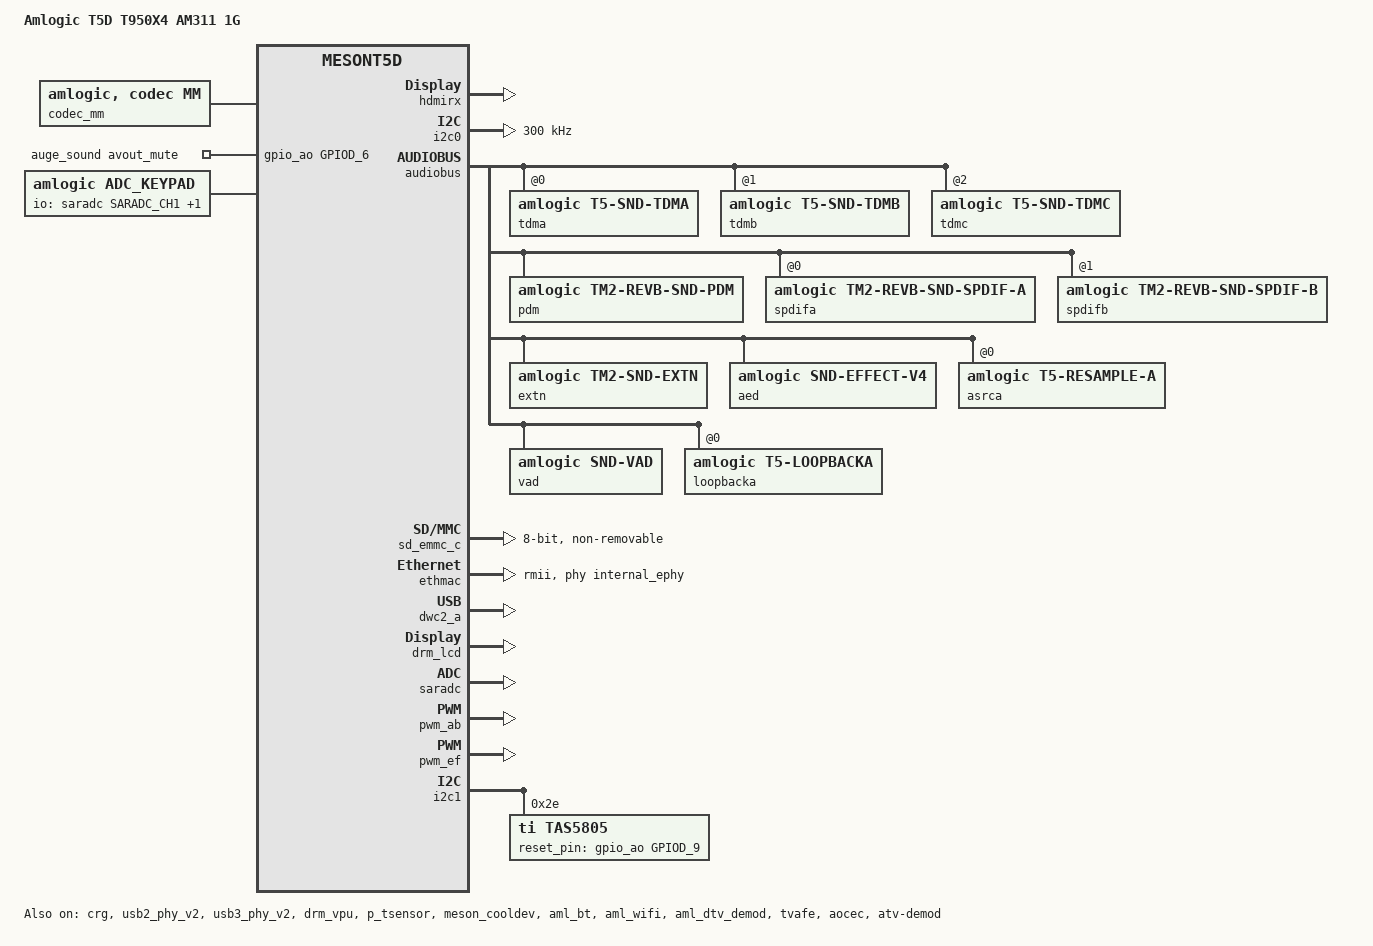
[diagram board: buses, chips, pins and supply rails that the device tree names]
// SPDX-License-Identifier: (GPL-2.0+ OR MIT)
/*
 * arch/arm64/boot/dts/amlogic/t5d_reva_t950x4_am311_linux_1g.dts
 *
 * Copyright (C) 2017 Amlogic, Inc. All rights reserved.
 *
 * This program is free software; you can redistribute it and/or modify
 * it under the terms of the GNU General Public License as published by
 * the Free Software Foundation; either version 2 of the License, or
 * (at your option) any later version.
 *
 * This program is distributed in the hope that it will be useful, but WITHOUT
 * ANY WARRANTY; without even the implied warranty of MERCHANTABILITY or
 * FITNESS FOR A PARTICULAR PURPOSE.  See the GNU General Public License for
 * more details.
 *
 */

/dts-v1/;

#include "mesont5d_reva.dtsi"
#include "partition_normal_linux.dtsi"
#include "mesont5d_reva_am301_linux-panel.dtsi"
#include "mesont5_drm.dtsi"

/ {
	model = "Amlogic T5D T950X4 AM311 1G";
	amlogic-dt-id = "t5d-reva_t950x4_am311-1g";

	aliases {
		serial0 = &uart_B;
		serial1 = &uart_A;
		serial2 = &uart_C;
		//serial3 = &uart_C;
		//serial4 = &uart_AO_B;
		tsensor0 = &p_tsensor;
		i2c0 = &i2c0;
		i2c1 = &i2c1;
		i2c2 = &i2c2;
		spi0 = &spifc;
		spi1 = &spicc0;
	};

	memory@00000000 {
		device_type = "memory";
		linux,usable-memory = <0x0 0x40000000>;
	};

	reserved-memory {
		#address-cells = <1>;
		#size-cells = <1>;
		ranges;
		/* global autoconfigured region for contiguous allocations */
		ramoops@0x07400000 {
			compatible = "ramoops";
			reg = <0x07400000 0x00100000>;
			record-size = <0x20000>;
			console-size = <0x40000>;
			ftrace-size = <0x80000>;
			pmsg-size = <0x10000>;
			bconsole-size = <0x10000>;
		};

		secmon_reserved: linux,secmon {
			compatible = "shared-dma-pool";
			reusable;
			size = <0x400000>;
			alignment = <0x400000>;
			alloc-ranges = <0x05000000 0x400000>;
		};

		logo_reserved:linux,meson-fb {
			compatible = "shared-dma-pool";
			reusable;
			size = <0x800000>;
			alignment = <0x400000>;
			alloc-ranges = <0x3f800000 0x800000>;
		};

		lcd_tcon_reserved:linux,lcd_tcon {
			compatible = "shared-dma-pool";
			reusable;
			size = <0x800000>;
			alignment = <0x400000>;
			alloc-ranges = <0x3f000000 0x800000>;
		};

		codec_mm_cma:linux,codec_mm_cma {
			compatible = "shared-dma-pool";
			reusable;
			/* yuv420(32x3)96M + di(7x4,11x5)84M + workbuf(12M)
			 * the sum with align 4M then is equal to 192M
			 */
			size = <0x9000000>;
			alignment = <0x400000>;
			linux,contiguous-region;
			alloc-ranges = <0x0 0x3f800000>;
		};

		/* codec shared reserved */
		codec_mm_reserved:linux,codec_mm_reserved {
			compatible = "amlogic, codec-mm-reserved";
			size = <0x0>;
			/*alignment = <0x0 0x100000>;*/
			//no-map;
			alloc-ranges = <0x0 0x3f000000>;
		};

		ion_cma_reserved:linux,ion-dev {
			compatible = "shared-dma-pool";
			reusable;
			/* device/amlogic/xxx/BoardConfig.mk
			 *        |HWC_PRIMARY_FRAMEBUFFER_WIDTH := 1920
			 *        |      |HWC_PRIMARY_FRAMEBUFFER_HEIGHT := 1080
			 *        |      |      |NUM_FRAMEBUFFER_SURFACE_BUFFERS := 3
			 * size = 1920 * 1080 * 3 * 4(RGBA: bytes/pixel) + 4M(10% * afbc)
			 */
			size = <0x4000000>;
			alignment = <0x400000>;
			alloc-ranges = <0x0 0x3f000000>;
		};
		ion_fb_reserved:linux,ion-fb {
			compatible = "shared-dma-pool";
			reusable;
			size = <0x0000000>;
			alignment = <0x400000>;
		};

		/*  vdin0 CMA pool */
		//vdin0_cma_reserved:linux,vdin0_cma {
		//	compatible = "shared-dma-pool";
		//	reusable;
			/* 3840x2160x4x4 ~=128 M */
		//	size = <0xc400000>;
		//	alignment = <0x400000>;
		//};

		/*  vdin1 CMA pool */
		vdin1_cma_reserved:linux,vdin1_cma {
			compatible = "shared-dma-pool";
			reusable;
			/* 420 mode:1280x720x2x4=8MB */
			/* 444 mode:1280x720x3x4=12MB */
			size = <0x800000>;
			alignment = <0x400000>;
			alloc-ranges = <0x0 0x3f000000>;
		};

		/* demod_reserved:linux,demod {
		 *	compatible = "amlogic, demod-mem";
		 *	size = <0x6400000>; //8M //100m 0x6400000
		 *	alloc-ranges = <0x0 0x30000000>;
		 *	//multi-use;
		 *	//no-map;
		 * };
		 */

		/* demod_cma_reserved:linux,demod_cma {
		 *	compatible = "shared-dma-pool";
		 *	reusable;
		 *	// 40M
		 *	size = <0x02800000>;
		 *	alignment = <0x400000>;
		 *	alloc-ranges = <0x0 0x3f000000>;
		 *};
		 */

		/*di CMA pool */
		di_cma_reserved:linux,di_cma {
			compatible = "shared-dma-pool";
			reusable;
			/* buffer_size = 3621952(yuv422 8bit)
			 *  | 4736064(yuv422 10bit)
			 *  | 4074560(yuv422 10bit full pack mode)
			 * 10x3621952=34.6M(0x23) support 8bit
			 * 10x4736064=45.2M(0x2e) support 12bit
			 * 10x4074560=40M(0x28) support 10bit
			 */
			//size = <0x0 0x7800000>;
			alignment = <0x400000>;
		};

		/* for hdmi rx emp use */
		/*hdmirx_emp_cma_reserved:linux,emp_cma {*/
			/*compatible = "shared-dma-pool";*/
			/*linux,phandle = <5>;*/
			/*reusable;*/
			/* 4M for emp to ddr */
			/* 32M for tmds to ddr */
			/*size = <0x0 0x8000>;*/
			/*alignment = <0x0 0x400000>;*/
		/*};*/

		/* POST PROCESS MANAGER */
		ppmgr_reserved:linux,ppmgr {
			compatible = "amlogic, ppmgr_memory";
			size = <0x0>;
		};

		picdec_cma_reserved:linux,picdec {
			compatible = "shared-dma-pool";
			reusable;
			size = <0x0>;
			alignment = <0x0>;
			linux,contiguous-region;
		};
	}; /* end of reserved-memory */
	galcore {
		status = "disabled";
	};
	codec_mm {
		compatible = "amlogic, codec, mm";
		status = "okay";
		memory-region = <&codec_mm_cma &codec_mm_reserved>;
	};

	picdec {
		compatible = "amlogic, picdec";
		memory-region = <&picdec_cma_reserved>;
		dev_name = "picdec";
		status = "okay";
	};

	ppmgr {
		compatible = "amlogic, ppmgr";
		memory-region = <&ppmgr_reserved>;
		status = "okay";
	};

	multi-di {
		compatible = "amlogic, dim-t5d";
		status = "okay";
		/* 0:use reserved; 1:use cma; 2:use cma as reserved */
		flag_cma = <4>;//t5d unsupport 4K,di 1CH need 42M
		en_4k = <0>;
		keep_dec_vf = <0>;
		po_fmt = <0>;
		post_nub = <9>;
		//memory-region = <&di_reserved>;
		memory-region = <&di_cma_reserved>;
		interrupts = <0 46 1
				0 40 1>;
		interrupt-names = "pre_irq", "post_irq";
		clocks = <&peripheral_clkc CLKID_VPU_CLKB_TMP_GATE>,
			<&peripheral_clkc CLKID_VPU_CLKB_GATE>;
		clock-names = "t5_vpu_clkb_tmp_gate",
			"t5_vpu_clkb_gate";
		clock-range = <334 334>;
		/* buffer-size = <3621952>;(yuv422 8bit) */
		buffer-size = <4074560>;/*yuv422 fullpack*/
		/* reserve-iomap = "true"; */
		/* if enable nr10bit, set nr10bit-support to 1 */
		post-wr-support = <1>;
		nr10bit-support = <1>;
		nrds-enable = <1>;
		pps-enable = <1>;
		ponly_mode = <1>;
	};

	aml_dtv_demod {
		compatible = "amlogic, ddemod-t5d";
		dev_name = "aml_dtv_demod";
		status = "okay";
		diseqc_name = "sgm_41286";
		pinctrl-names="if_agc_pins", "diseqc", "rf_agc_pins";
		pinctrl-0=<&dtvdemod_if_agc_pins>;
		pinctrl-1=<&diseqc_out>;
		pinctrl-2=<&dtvdemod_rf_agc_pins>;
		lnb_en-gpios = <&gpio GPIOZ_2 GPIO_ACTIVE_HIGH>;
		lnb_sel-gpios = <&gpio GPIOZ_3 GPIO_ACTIVE_HIGH>;
		interrupts = <GIC_SPI 142 IRQ_TYPE_EDGE_RISING>;
		interrupt-names = "demod_isr";

		power-domains = <&pwrdm PDID_T5_DEMOD>;
		clocks = <&clkc CLKID_DAC_CLK>;
		clock-names = "vdac_clk_gate";

		reg = <0xff670000 0x10000	/*dtv demod base*/
			   0xff646000 0x2000	/*hiu reg base*/
			   0xff800000 0x1000	/*io_aobus_base*/
			   0xffd01000 0x1000	/*reset*/
			>;

		spectrum = <1>;
		cma_mem_size = <40>; // MB
		//memory-region = <&demod_cma_reserved>;//<&demod_reserved>;
	};

	/* Audio Related start */
	auge_sound {
		compatible = "amlogic, auge-sound-card";
		aml-audio-card,name = "AML-AUGESOUND";

		avout_mute-gpios = <&gpio_ao GPIOD_6 GPIO_ACTIVE_HIGH>;

		interrupts = <GIC_SPI 235 IRQ_TYPE_EDGE_RISING>;
		interrupt-names = "audio_exception64";

		aml-audio-card,dai-link@0 {
			format = "i2s";
			mclk-fs = <256>;
			//continuous-clock;
			//bitclock-inversion;
			//frame-inversion;
			/* master mode */
			bitclock-master = <&tdma>;
			frame-master = <&tdma>;
			/* slave mode */
			/*
			 * bitclock-master = <&tdmacodec>;
			 * frame-master = <&tdmacodec>;
			 */
			/* suffix-name, sync with android audio hal used for */
			suffix-name = "alsaPORT-pcm";
			tdmacpu: cpu {
				sound-dai = <&tdma>;
				dai-tdm-slot-tx-mask =
							<1 1>;
				dai-tdm-slot-rx-mask =
							<1 1>;
				dai-tdm-slot-num = <2>;
				dai-tdm-slot-width = <32>;
				system-clock-frequency = <12288000>;
			};
			tdmacodec: codec {
				sound-dai = <&dummy_codec>;
			};
		};

		aml-audio-card,dai-link@1 {
			format = "i2s";
			mclk-fs = <256>;
			continuous-clock;
			//bitclock-inversion;
			//frame-inversion;
			/* master mode */
			bitclock-master = <&tdmb>;
			frame-master = <&tdmb>;
			/* slave mode */
			//bitclock-master = <&tdmbcodec>;
			//frame-master = <&tdmbcodec>;
			/* suffix-name, sync with android audio hal used for */
			suffix-name = "alsaPORT-i2s";
			cpu {
				sound-dai = <&tdmb>;
				dai-tdm-slot-tx-mask = <1 1>;
				dai-tdm-slot-rx-mask = <1 1>;
				dai-tdm-slot-num = <2>;
				dai-tdm-slot-width = <32>;
				system-clock-frequency = <12288000>;
			};
			tdmbcodec: codec {
				prefix-names = "AMP";
				sound-dai = <&tas5805 &acodec>;
			};
		};

		aml-audio-card,dai-link@2 {
			format = "i2s";
			mclk-fs = <256>;
			//continuous-clock;
			//bitclock-inversion;
			//frame-inversion;
			/* master mode */
			bitclock-master = <&tdmc>;
			frame-master = <&tdmc>;
			/* slave mode */
			//bitclock-master = <&tdmccodec>;
			//frame-master = <&tdmccodec>;
			/* suffix-name, sync with android audio hal used for */
			//suffix-name = "alsaPORT-tdm";
			cpu {
				sound-dai = <&tdmc>;
				dai-tdm-slot-tx-mask = <1 1>;
				dai-tdm-slot-rx-mask = <1 1>;
				dai-tdm-slot-num = <2>;
				dai-tdm-slot-width = <32>;
				system-clock-frequency = <12288000>;
			};
			tdmccodec: codec {
				sound-dai = <&dummy_codec>;
			};
		};

		aml-audio-card,dai-link@3 {
			mclk-fs = <64>;
			/* suffix-name, sync with android audio hal used for */
			suffix-name = "alsaPORT-pdm";
			cpu {
				sound-dai = <&pdm>;
			};
			codec {
				sound-dai = <&dummy_codec>;
			};
		};

		aml-audio-card,dai-link@4 {
			mclk-fs = <128>;
			continuous-clock;
			/* suffix-name, sync with android audio hal used for */
			suffix-name = "alsaPORT-spdif";
			cpu {
				sound-dai = <&spdifa>;
				system-clock-frequency = <6144000>;
			};
			codec {
				sound-dai = <&dummy_codec>;
			};
		};

		aml-audio-card,dai-link@5 {
			mclk-fs = <128>;
			suffix-name = "alsaPORT-spdifb";
			cpu {
				sound-dai = <&spdifb>;
				system-clock-frequency = <6144000>;
			};
			codec {
				sound-dai = <&dummy_codec>;
			};
		};

		aml-audio-card,dai-link@6 {
			mclk-fs = <256>;
			suffix-name = "alsaPORT-tv";
			cpu {
				sound-dai = <&extn>;
				system-clock-frequency = <12288000>;
			};
			codec {
				sound-dai = <&dummy_codec>;
			};
		};

		aml-audio-card,dai-link@7 {
			mclk-fs = <256>;
			continuous-clock;
			suffix-name = "alsaPORT-loopback";
			cpu {
				sound-dai = <&loopbacka>;
				system-clock-frequency = <12288000>;
			};
			codec {
				sound-dai = <&dummy_codec>;
			};
		};
	};
	/* Audio Related end */

	dvb-extern {
		compatible = "amlogic, dvb-extern";
		dev_name = "dvb-extern";
		status = "okay";

		fe_num = <1>;
		fe0_demod = "internal";

		tuner_num = <2>; /* tuner number, multi tuner support */
		tuner0_name = "mxl661_tuner";
		tuner0_i2c_adap = <&i2c0>;
		tuner0_i2c_addr = <0x60>;
		tuner0_xtal = <1>; /* 0: 16MHz, 1: 24MHz */
		tuner0_xtal_mode = <3>;
					/* NO_SHARE_XTAL(0)
					 * SLAVE_XTAL_SHARE(3)
					 */
		tuner0_xtal_cap = <25>;

		tuner1_name = "rt710_tuner";
		tuner1_i2c_adap = <&i2c0>;
		tuner1_i2c_addr = <0xF4>;
		tuner1_xtal = <0>; /* 0: 16MHz, 1: 24MHz */
		tuner1_xtal_mode = <0>;
					/* NO_SHARE_XTAL(0)
					 * SLAVE_XTAL_SHARE(3)
					 */
		tuner1_xtal_cap = <25>;
	};

	dvb-demux {
		compatible = "amlogic, dvb-demux";
		dev_name = "dvb-demux";
		status = "okay";

		dmx = <&demux>;
		key_endia = <1>;
		add_s2p2 = <1>;
		add_ts_in = <1>;
		add_asyncfifo = <1>;

		/*"parallel","serial","disable"*/
		ts2 = "parallel";
		ts2_control = <0>;
		ts2_invert = <0>;

		clocks = <&clkc CLKID_DEMUX
		&clkc CLKID_AHB_ARB0
		&clkc CLKID_PARSER0>;
		clock-names = "demux", "ahbarb0", "parser_top";
	};

	tvafe_avin_detect {
		compatible = "amlogic, t5d_tvafe_avin_detect";
		status = "okay";
		device_mask = <1>;/*bit0:ch1;bit1:ch2*/
		interrupts = <0 12 1>,
				<0 13 1>;
	};

	amlvecm {
		compatible = "amlogic, vecm-t5d";
		dev_name = "aml_vecm";
		status = "okay";
		gamma_en = <1>;/*1:enabel ;0:disable*/
		wb_en = <1>;/*1:enabel ;0:disable*/
		cm_en = <1>;/*1:enabel ;0:disable*/
		wb_sel = <0>;/*1:mtx ;0:gainoff*/
		hist_sel = <0>;/*1:vd2 ;0:vd1*/
		vlock_en = <1>;/*1:enable;0:disable*/
		vlock_mode = <0x8>;
		/* vlock work mode:
		 *bit0:auto ENC
		 *bit1:auto PLL
		 *bit2:manual PLL
		 *bit3:manual ENC
		 *bit4:manual soft ENC
		 *bit5:manual MIX PLL ENC
		 */
		 vlock_pll_m_limit = <1>;
		 vlock_line_limit = <2>;
		 clocks = <&peripheral_clkc CLKID_VID_LOCK_CLK>;
		 clock-names = "cts_vid_lock_clk";
		interrupts = <0 87 1>;
		interrupt-names = "lc_curve";
	};

	vdin@0 {
		compatible = "amlogic, vdin-t5d";
		/*memory-region = <&vdin0_cma_reserved>;*/
		status = "okay";
		/*bit0:(1:share with codec_mm;0:cma alone)
		 *bit8:(1:alloc in discontinus way;0:alone in continuous way)
		 */
		flag_cma = <0x101>;
		/*MByte, if 10bit disable: 64M(YUV422),
		 *if 10bit enable: 64*1.5 = 96M(YUV422)
		 *if support 4K2K-YUV444-10bit-WR:3840*2160*4*6 ~= 200M
		 *if support 4K2K-YUV422-10bit-wr:3840*2160*3*6 ~= 160M
		 *if support 4K2K-YUV422-8BIT-WR:3840*2160*2*4 ~= 64M
		 *if support 1080p-YUV422-8BIT-WR:1920*1080*2*4 ~= 16M
		 *worst case:(4096*2160*4 + 2M(afbce issue)) *6buf = 214.5M
		 */
		cma_size = <80>;
		frame_buff_num = <10>;
		interrupts = <0 83 1>;
		rdma-irq = <2>;
		/*clocks = <&clkc CLKID_FCLK_DIV5>,
		 *	<&clkc CLKID_VDIN_MEAS_COMP>;
		 *clock-names = "fclk_div5", "cts_vdin_meas_clk";
		 */
		vdin_id = <0>;
		clocks = <&clkc CLKID_FCLK_DIV5>,
			<&peripheral_clkc CLKID_VDIN_MEAS_GATE>;
		clock-names = "fclk_div5", "cts_vdin_meas_clk";
		/*vdin write mem color depth support:
		 * bit0:support 8bit
		 * bit1:support 9bit
		 * bit2:support 10bit
		 * bit3:support 12bit
		 * bit4:support yuv422 10bit full pack mode (from txl new add)
		 * bit5:force yuv422 to yuv444 malloc (for vdin0 debug)
		 * bit8:use 8bit  at 4k_50/60hz_10bit
		 * bit9:use 10bit at 4k_50/60hz_10bit
		 */
		tv_bit_mode = <0x235>;
		/* afbce_bit_mode: (amlogic frame buff compression encoder)
		 * bit0 -- enable afbce
		 * bit1 -- enable afbce compression-lossy
		 * bit4 -- afbce for 4k
		 * bit5 -- afbce for 1080p
		 * bit6 -- afbce for 720p
		 * bit7 -- afbce for smaller resolution
		 */
		afbce_bit_mode = <0x11>;
		/*urgent_en*/
		double_write_en;
		/* secure_en; */
		v4l_support_en = <0>;
	};

	vdin@1 {
		compatible = "amlogic, vdin-t5d";
		memory-region = <&vdin1_cma_reserved>;
		status = "okay";
		/*bit0:(1:share with codec_mm;0:cma alone)
		 *bit8:(1:alloc in discontinus way;0:alone in continuous way)
		 */
		flag_cma = <0>;
		interrupts = <0 85 1>;
		rdma-irq = <4>;
		/*clocks = <&clkc CLKID_FCLK_DIV5>,
		 *	<&clkc CLKID_VDIN_MEAS_COMP>;
		 *clock-names = "fclk_div5", "cts_vdin_meas_clk";
		 */
		vdin_id = <1>;
		/*vdin write mem color depth support:
		 *bit0:support 8bit
		 *bit1:support 9bit
		 *bit2:support 10bit
		 *bit3:support 12bit
		 */
		tv_bit_mode = <0x15>;
		/*urgent_en*/
	};

	tvafe {
		compatible = "amlogic, tvafe-t5d";
		/*memory-region = <&tvafe_cma_reserved>;*/
		status = "okay";
		flag_cma = <1>;/*1:share with codec_mm;0:cma alone*/
		cma_size = <5>;/*MByte*/
		reg = <0xff654000 0x2000>;/*tvafe reg base*/
		reserve-iomap = "true";
		tvafe_id = <0>;
		//pinctrl-names = "default";
		/*!!particular sequence, no more and no less!!!*/
		tvafe_pin_mux = <
				3 /* TVAFE_CVBS_IN2, CVBS_IN0 = 0 */
				1 /* TVAFE_CVBS_IN0, CVBS_IN1 */
				2 /* TVAFE_CVBS_IN1, CVBS_IN2 */
				4 /* TVAFE_CVBS_IN3, CVBS_IN3 */
		>;
		clocks = <&clkc CLKID_DAC_CLK>;
		clock-names = "vdac_clk_gate";

		cutwindow_val_h = <0 0 0 0 8>; /* level 0~4 */
		cutwindow_val_v = <4 8 14 16 24>;  /* level 0~4 */
	};

	vbi {
		compatible = "amlogic, vbi";
		status = "okay";
		interrupts = <0 83 1>;
	};

	cvbsout {
		compatible = "amlogic, cvbsout-t5d";
		status = "okay";
		clocks = <&clkc CLKID_VCLK2_ENCI
			&clkc CLKID_VCLK2_VENCI0
			&clkc CLKID_VCLK2_VENCI1
			&clkc CLKID_DAC_CLK>;
		clock-names = "venci_top_gate",
			"venci_0_gate",
			"venci_1_gate",
			"vdac_clk_gate";
		/* clk path */
		/* 0:vid_pll vid2_clk */
		/* 1:gp0_pll vid2_clk */
		/* 2:vid_pll vid1_clk */
		/* 3:gp0_pll vid1_clk */
		clk_path = <0>;

		/* performance: reg_address, reg_value */
		/* tm2 */
		performance = <0x1bf0  0x9
			0x1b56  0x333
			0x1b12  0x8080
			0x1b05  0xfd
			0x1c59  0xf850
			0xffff  0x0>; /* ending flag */
		performance_sarft = <0x1bf0  0x9
			0x1b56  0x333
			0x1b12  0x0
			0x1b05  0x9
			0x1c59  0xfc48
			0xffff  0x0>; /* ending flag */
		performance_revB_telecom = <0x1bf0  0x9
			0x1b56  0x546
			0x1b12  0x8080
			0x1b05  0x9
			0x1c59  0xf850
			0xffff  0x0>; /* ending flag */
	};

	/* for external keypad */
	adc_keypad {
		compatible = "amlogic, adc_keypad";
		status = "okay";
		key_name = "power","vol-","vol+","enter","menu","source","exit";
		key_num = <7>;
		io-channels = <&saradc SARADC_CH1>,<&saradc SARADC_CH2>;
		io-channel-names = "key-chan-1", "key-chan-2";
		key_chan = <SARADC_CH1 SARADC_CH1 SARADC_CH1 SARADC_CH1
			SARADC_CH2 SARADC_CH2 SARADC_CH2>;
		key_code = <116 114 115 28 139 466 174>;
		key_val = <0 143 266 389 0 143 266>; //val=voltage/1800mV*1023
		key_tolerance = <40 40 40 40 40 40 40>;
	};

	provisionkey {
		compatible = "amlogic, provisionkey";
		status = "okay";
		key-permit-default = "write";
		//new key not need add dts if started with KEY_PROVISION_
		KEY_PROVISION_XXX { };
		//test_my_added_keyname { };
	};//End provisionkey

	unifykey {
		compatible = "amlogic,unifykey";
		status = "okay";

		unifykey-num = <25>;
		unifykey-index-0 = <&keysn_0>;
		unifykey-index-1 = <&keysn_1>;
		unifykey-index-2 = <&keysn_2>;
		unifykey-index-3 = <&keysn_3>;
		unifykey-index-4 = <&keysn_4>;
		unifykey-index-5 = <&keysn_5>;
		unifykey-index-6 = <&keysn_6>;
		unifykey-index-7 = <&keysn_7>;
		unifykey-index-8 = <&keysn_8>;
		unifykey-index-9 = <&keysn_9>;
		unifykey-index-10= <&keysn_10>;
		unifykey-index-11 = <&keysn_11>;
		unifykey-index-12 = <&keysn_12>;
		unifykey-index-13 = <&keysn_13>;
		unifykey-index-14 = <&keysn_14>;
		unifykey-index-15 = <&keysn_15>;
		unifykey-index-16 = <&keysn_16>;
		unifykey-index-17 = <&keysn_17>;
		unifykey-index-18 = <&keysn_18>;
		unifykey-index-19 = <&keysn_19>;
		unifykey-index-20 = <&keysn_20>;
		unifykey-index-21 = <&keysn_21>;
		unifykey-index-22 = <&keysn_22>;
		unifykey-index-23 = <&keysn_23>;
		unifykey-index-24 = <&keysn_24>;

		keysn_0: key_0{
			key-name = "usid";
			key-device = "normal";
			key-permit = "read","write","del";
		};
		keysn_1:key_1{
			key-name = "mac";
			key-device  = "normal";
			key-permit = "read","write","del";
		};
		keysn_2:key_2{
			key-name = "hdcp";
			key-device = "secure";
			key-type  = "sha1";
			key-permit = "read","write","del";
		};
		keysn_3:key_3{
			key-name = "secure_boot_set";
			key-device = "efuse";
			key-permit = "write";
		};
		keysn_4:key_4{
			key-name = "mac_bt";
			key-device = "normal";
			key-permit = "read","write","del";
			key-type  = "mac";
		};
		keysn_5:key_5{
			key-name = "mac_wifi";
			key-device = "normal";
			key-permit = "read","write","del";
			key-type  = "mac";
		};
		keysn_6:key_6{
			key-name = "hdcp2_tx";
			key-device = "normal";
			key-permit = "read","write","del";
		};
		keysn_7:key_7{
			key-name = "hdcp2_rx";
			key-device = "normal";
			key-permit = "read","write","del";
		};
		keysn_8:key_8{
			key-name = "widevinekeybox";
			key-device = "secure";
			key-type = "sha1";
			key-permit = "read","write","del";
		};
		keysn_9:key_9{
			key-name = "deviceid";
			key-device = "normal";
			key-permit = "read","write","del";
		};
		keysn_10:key_10{
			key-name = "hdcp22_fw_private";
			key-device = "secure";
			key-permit = "read","write","del";
		};
		keysn_11:key_11{
			key-name = "hdcp22_rx_private";
			key-device = "secure";
			key-permit = "read","write","del";
		};
		keysn_12:key_12{
			key-name = "hdcp22_rx_fw";
			key-device = "normal";
			key-permit = "read","write","del";
		};
		keysn_13:key_13{
			key-name = "hdcp14_rx";
			key-device = "normal";
			key-type  = "sha1";
			key-permit = "read","write","del";
		};
		keysn_14:key_14{
			key-name = "prpubkeybox";// PlayReady
			key-device = "secure";
			key-permit = "read","write","del";
		};
		keysn_15:key_15{
			key-name = "prprivkeybox";// PlayReady
			key-device = "secure";
			key-permit = "read","write","del";
		};
		keysn_16:key_16{
			key-name = "lcd";
			key-device = "normal";
			key-permit = "read","write","del";
		};
		keysn_17:key_17{
			key-name = "lcd_extern";
			key-device = "normal";
			key-permit = "read","write","del";
		};
		keysn_18:key_18{
			key-name = "backlight";
			key-device = "normal";
			key-permit = "read","write","del";
		};
		keysn_19:key_19{
			key-name = "lcd_tcon";
			key-device = "normal";
			key-permit = "read","write","del";
		};
		keysn_20:key_20{
			key-name = "attestationkeybox";// attestation key
			key-device = "secure";
			key-permit = "read","write","del";
		};
		keysn_21:key_21{
			key-name = "lcd_tcon_spi";
			key-device = "normal";
			key-permit = "read","write","del";
		};
		keysn_22:key_22{
			key-name = "attestationdevidbox";// attest dev id box
			key-device = "secure";
			key-permit = "read","write","del";
		};
		keysn_23:key_23{
			key-name = "oemkey";
			key-device = "normal";
			key-permit = "read","write","del";
		};
		keysn_24:key_24{
			key-name = "lcd_optical";
			key-device = "normal";
			key-permit = "read","write","del";
		};
	}; /* End unifykey */

	vdetect {
		compatible = "amlogic, vdetect";
		dev_name = "vdetect";
		status = "disabled";
	};

	amlvideo2_0 {
		compatible = "amlogic, amlvideo2";
		dev_name = "amlvideo2";
		status = "okay";
		amlvideo2_id = <0>;
		cma_mode = <1>;
	};

	amlvideo2_1 {
		compatible = "amlogic, amlvideo2";
		dev_name = "amlvideo2";
		status = "okay";
		amlvideo2_id = <1>;
		cma_mode = <1>;
	};

	hdmirx {
		compatible = "amlogic, hdmirx_t5d";
		#address-cells=<1>;
		#size-cells=<1>;
		/*memory-region = <&hdmirx_emp_cma_reserved>;*/
		status = "okay";
		pinctrl-names = "hdmirx_pins";
		pinctrl-0 = <&hdmirx_a_mux &hdmirx_b_mux
			&hdmirx_c_mux>;
		repeat = <0>;
		/* bit 4: tdr enable
		 * bit [3:0]: tdr level control
		 */
		term_lvl = <0x10>;
		interrupts = <0 41 IRQ_TYPE_LEVEL_HIGH>;
		clocks = <&peripheral_clkc CLKID_HDMIRX_MODET_GATE>,
				<&peripheral_clkc CLKID_HDMIRX_CFG_GATE>,
				<&peripheral_clkc CLKID_HDMIRX_ACR_GATE>,
				<&peripheral_clkc CLKID_HDMIRX_METER_GATE>,
				<&peripheral_clkc CLKID_HDMI_AXI_GATE>,
				<&xtal>,
				<&clkc CLKID_FCLK_DIV3>,
				<&clkc CLKID_FCLK_DIV5>,
				<&clkc CLKID_FCLK_DIV7>,
				<&peripheral_clkc CLKID_HDCP22_SKP_GATE>,
				<&peripheral_clkc CLKID_HDCP22_ESM_GATE>;
				//<&clkc CLK_AUD_PLL2FS>,
				//<&clkc CLK_AUD_PLL4FS>,
				//<&clkc CLK_AUD_OUT>;
		clock-names = "hdmirx_modet_clk",
				"hdmirx_cfg_clk",
				"hdmirx_acr_ref_clk",
				"cts_hdmirx_meter_clk",
				"cts_hdmi_axi_clk",
				"xtal",
				"fclk_div3",
				"fclk_div5",
				"fclk_div7",
				"hdcp_rx22_skp",
				"hdcp_rx22_esm";
				//"hdmirx_aud_pll2fs",
				//"hdmirx_aud_pll4f",
				//"clk_aud_out";
		hdmirx_id = <0>;
		en_4k_2_2k = <0>;
		en_4k_timing = <0>;
		hpd_low_cec_off = <1>;
		arc_port = <1>;
		/* bit4: enable feature, bit3~0: port number */
		disable_port = <0x0>;
		hdcp_tee_path = <1>;
		/* MAP_ADDR_MODULE_CBUS */
		/* MAP_ADDR_MODULE_HIU */
		/* MAP_ADDR_MODULE_HDMIRX_CAPB3 */
		/* MAP_ADDR_MODULE_SEC_AHB */
		/* MAP_ADDR_MODULE_SEC_AHB2 */
		/* MAP_ADDR_MODULE_APB4 */
		/* MAP_ADDR_MODULE_TOP */
		/* MAP_ADDR_MODULE_CLK_CTRL */
		reg = < 0x0 0x0
			0xff63C000 0x2000
			0xffe0d000 0x2000
			0x0 0x0
			0x0 0x0
			0x0 0x0
			0xff610000 0xffff
			0xff646000 0x1fff>;
	};

	amhdmitx: amhdmitx {
		compatible = "amlogic, amhdmitx";
		dev_name = "amhdmitx";
		status = "disabled";
		repeater_tx = <0x0>;
	};

	aocec: aocec {
		compatible = "amlogic, aocec-t5d";
		/*device_name = "aocec";*/
		status = "okay";
		vendor_name = "Amlogic"; /* Max Chars: 8	 */
		/* Refer to the following URL at:
		 * http://standards.ieee.org/develop/regauth/oui/oui.txt
		 */
		vendor_id = <0xffffff>;
		product_desc = "t5d"; /* Max Chars: 16	  */
		cec_osd_string = "AML_TV"; /* Max Chars: 14    */
		port_num = <4>;
		ee_cec;
		/*cec_sel = <2>;*/
		output = <1>;	/*output port number*/
		arc_port_mask = <0x2>;
		interrupts = <0 203 1>;
		interrupt-names = "hdmi_aocecb";
		pinctrl-names = "default","hdmitx_aocecb","cec_pin_sleep";
		pinctrl-0=<&aocecb_mux>;
		pinctrl-1=<&aocecb_mux>;
		pinctrl-2=<&aocecb_mux>;
		clocks = <&clkc_AO CLKID_CECB_32K_CLKOUT>;
		clock-names = "cecb_clk";
		reg = <0xFF80023c 0x4
			   0xFF800000 0x400>;
		reg-names = "ao_exit","ao";
	};

	atv-demod {
		compatible = "amlogic, atv-demod";
		status = "okay";
		btsc_sap_mode = <1>;
		interrupts = <0 236 1>;
		/* pinctrl-names="atvdemod_agc_pins"; */
		/* pinctrl-0=<&atvdemod_agc_pins>; */
		reg = <0xff656000 0x2000 /* demod reg */
				0xff646000 0x2000 /* hiu reg */
				0xff634400 0x400 /* periphs reg */
				0xff64a000 0x2000>; /* audio reg */
		reg_23cf = <0x88188832>;
		/*default:0x88188832;r840 on haier:0x48188832*/
	};

/*
 *	sd_emmc_b: sdio@ffe05000 {
 *		status = "disabled";
 *		compatible = "amlogic, meson-mmc-t5";
 *		reg = <0xffe05000 0x800>;
 *		interrupts = <0 190 4>;
 *
 *		pinctrl-names = "sdio_all_pins",
 *			"sdio_clk_cmd_pins";
 *		pinctrl-0 = <&sdio_all_pins>;
 *		pinctrl-1 = <&sdio_clk_cmd_pins>;
 *
 *		clocks = <&clkc CLKID_SD_EMMC_B>,
 *			<&clkc CLKID_SD_EMMC_B_P0_COMP>,
 *			<&clkc CLKID_FCLK_DIV2>,
 *			<&clkc CLKID_FCLK_DIV5>,
 *			<&xtal>;
 *		clock-names = "core", "clkin0", "clkin1", "clkin2", "xtal";
 *
 *		bus-width = <4>;
 *		cap-sd-highspeed;
 *		cap-mmc-highspeed;
 *		max-frequency = <100000000>;
 *		disable-wp;
 *		sdio {
 *			pinname = "sdio";
 *			ocr_avail = <0x200080>;
 *			caps = "MMC_CAP_4_BIT_DATA",
 *				"MMC_CAP_MMC_HIGHSPEED",
 *				"MMC_CAP_SD_HIGHSPEED",
 *				"MMC_CAP_NONREMOVABLE",
 *				 "MMC_CAP_UHS_SDR12",
 *				 "MMC_CAP_UHS_SDR25",
 *				 "MMC_CAP_UHS_SDR50",
 *				 "MMC_CAP_UHS_SDR104",
 *				 "MMC_PM_KEEP_POWER",
 *				 "MMC_CAP_SDIO_IRQ";
 *			f_min = <400000>;
 *			f_max = <200000000>;
 *			max_req_size = <0x20000>;
 *			card_type = <3>;
 *		};
 *	};
 */

	sd_emmc_b: sd@ffe05000 {
		status = "disabled";
		compatible = "amlogic, meson-mmc-t5";
		reg = <0xffe05000 0x800>;
		interrupts = <0 190 1>;

		pinctrl-names = "sd_all_pins",
			"sd_clk_cmd_pins",
			"sd_1bit_pins";
		pinctrl-0 = <&sd_all_pins>;
		pinctrl-1 = <&sd_clk_cmd_pins>;
		pinctrl-2 = <&sd_1bit_pins>;

		/*clocks = <&clkc CLKID_SD_EMMC_B>,
		 *	<&clkc CLKID_SD_EMMC_B_P0_COMP>,
		 *	<&clkc CLKID_FCLK_DIV2>,
		 *	<&clkc CLKID_FCLK_DIV5>,
		 *	<&xtal>;
		 *clock-names = "core", "clkin0", "clkin1", "clkin2", "xtal";
		 */

		bus-width = <4>;
		cap-sd-highspeed;
		cap-mmc-highspeed;
		max-frequency = <100000000>;
		disable-wp;
		sd {
			pinname = "sd";
			ocr_avail = <0x200080>;
			caps = "MMC_CAP_4_BIT_DATA",
				"MMC_CAP_MMC_HIGHSPEED",
				"MMC_CAP_SD_HIGHSPEED";
//				"MMC_CAP_NONREMOVABLE"; /**ptm debug */
			f_min = <400000>;
			f_max = <200000000>;
			max_req_size = <0x20000>;
			no_sduart = <1>;
			//gpio_dat3 = <&gpio GPIOC_3 GPIO_ACTIVE_HIGH>;
			//jtag_pin = <&gpio GPIOC_0 GPIO_ACTIVE_HIGH>;
			//gpio_cd = <&gpio GPIOC_10 GPIO_ACTIVE_HIGH>;
			card_type = <5>;
		};
	};

}; /* end of / */

&i2c0 {
	status = "okay";
	clock-frequency = <300000>;
	pinctrl-names="default";
	pinctrl-0=<&i2c0_z_pins>;
};

&pinctrl_audio {
	tdm_d0_pins: tdm_d0_pin {
		mux {
			groups = "tdm_d0";
			function = "tdmoutb_lane0";
		};
	};

	tdm_clk_pins: tdm_clk_pin {
		mux {
			groups = "tdm_sclk0", "tdm_lrclk0";
			function = "tdm_clk_outb";
		};
	};
};

&audiobus {
	tdma:tdm@0 {
		compatible = "amlogic, t5-snd-tdma";
		#sound-dai-cells = <0>;

		dai-tdm-lane-slot-mask-in = <1 0>;
		dai-tdm-lane-slot-mask-out = <1 1>;
		dai-tdm-clk-sel = <0>;

		clocks = <&clkaudio CLKID_AUDIO_MCLK_A
				&clkc CLKID_MPLL0>;
		clock-names = "mclk", "clk_srcpll";

		/* enable control gain */
		ctrl_gain = <1>;

		status = "okay";
	};

	tdmb:tdm@1 {
		compatible = "amlogic, t5-snd-tdmb";
		#sound-dai-cells = <0>;

		dai-tdm-lane-slot-mask-in = <1 0>;
		dai-tdm-lane-slot-mask-out = <1 1 1 1>;
		dai-tdm-clk-sel = <1>;

		clocks = <&clkaudio CLKID_AUDIO_MCLK_B
				&clkaudio CLKID_AUDIO_MCLK_PAD0
				&clkc CLKID_MPLL1>;
		clock-names = "mclk", "mclk_pad", "clk_srcpll";

		/*
		 * 0: tdmout_a;
		 * 1: tdmout_b;
		 * 2: tdmout_c;
		 * 3: spdifout;
		 * 4: spdifout_b;
		 */
		samesource_sel = <3>;

		pinctrl-names = "tdm_pins","tdmout_a_gpio";
		pinctrl-0 = <&mclk_1_pins
			&tdmout_b_pins
			&tdm_d0_pins
			&tdm_clk_pins>;
		pinctrl-1 = <&tdmout_a_gpio>;

		/* In for ACODEC_ADC */
		tdmin-src-name = "acodec_adc";
		/*enable default mclk(12.288M), before extern codec start*/
		start_clk_enable = <1>;

		/*tdm clk tuning enable*/
		clk_tuning_enable = <1>;

		/* enable control gain */
		ctrl_gain = <1>;

		status = "okay";

		/* !!!For --TV platform-- ONLY */
		Channel_Mask {
			/*i2s has 4 pins, 8channel, mux output*/
			Spdif_samesource_Channel_Mask = "i2s_2/3";
		};
	};

	tdmc:tdm@2 {
		compatible = "amlogic, t5-snd-tdmc";
		#sound-dai-cells = <0>;

		dai-tdm-lane-slot-mask-in = <1 0 0 0>;
		dai-tdm-lane-slot-mask-out = <1 0 0 0>;
		dai-tdm-clk-sel = <2>;

		clocks = <&clkaudio CLKID_AUDIO_MCLK_C
				&clkc CLKID_MPLL2>;
		clock-names = "mclk", "clk_srcpll";

		/* enable control gain */
		ctrl_gain = <1>;

		status = "okay";
	};

	pdm:pdm {
		compatible = "amlogic, tm2-revb-snd-pdm";
		#sound-dai-cells = <0>;

		clocks = <&clkaudio CLKID_AUDIO_GATE_PDM
			&clkc CLKID_FCLK_DIV3
			&clkc CLKID_MPLL3
			&clkaudio CLKID_AUDIO_PDMIN0
			&clkaudio CLKID_AUDIO_PDMIN1>;
		clock-names = "gate",
			"sysclk_srcpll",
			"dclk_srcpll",
			"pdm_dclk",
			"pdm_sysclk";

		pinctrl-names = "pdm_pins";
		pinctrl-0 = <&pdmin>;

		/* mode 0~4, defalut:1 */
		filter_mode = <1>;

		status = "okay";
	};

	spdifa:spdif@0 {
		compatible = "amlogic, tm2-revb-snd-spdif-a";
		#sound-dai-cells = <0>;

		clocks = <&clkc CLKID_MPLL0
				&clkc CLKID_FCLK_DIV4
				&clkaudio CLKID_AUDIO_GATE_SPDIFIN
				&clkaudio CLKID_AUDIO_GATE_SPDIFOUT_A
				&clkaudio CLKID_AUDIO_SPDIFIN
				&clkaudio CLKID_AUDIO_SPDIFOUT_A>;
		clock-names = "sysclk", "fixed_clk", "gate_spdifin",
				"gate_spdifout", "clk_spdifin", "clk_spdifout";

		interrupts =
				<GIC_SPI 151 IRQ_TYPE_EDGE_RISING>;
		interrupt-names = "irq_spdifin";

		pinctrl-names = "spdif_pins",
			"spdif_pins_mute";
		pinctrl-0 = <&spdifout_a>;
		pinctrl-1 = <&spdifout_a_mute>;

		samesource_sel = <4>;

		/*spdif clk tuning enable*/
		clk_tuning_enable = <1>;
		status = "okay";
	};

	spdifb:spdif@1 {
		compatible = "amlogic, tm2-revb-snd-spdif-b";
		#sound-dai-cells = <0>;

		clocks = <&clkc CLKID_MPLL2 /*CLKID_HIFI_PLL*/
				&clkaudio CLKID_AUDIO_GATE_SPDIFOUT_B
				&clkaudio CLKID_AUDIO_SPDIFOUT_B>;
		clock-names = "sysclk",
				"gate_spdifout", "clk_spdifout";
		pinctrl-names = "spdif_pins",
			"spdif_pins_mute";
		pinctrl-0 = <&spdifout_b>;
		pinctrl-1 = <&spdifout_b_mute>;

		status = "okay";
	};

	extn:extn {
		compatible = "amlogic, tm2-snd-extn";
		#sound-dai-cells = <0>;

		interrupts =
				<GIC_SPI 158 IRQ_TYPE_EDGE_RISING>;
		interrupt-names = "irq_frhdmirx";

		status = "okay";
	};

	aed:effect {
		compatible = "amlogic, snd-effect-v4";
		#sound-dai-cells = <0>;

		clocks = <&clkaudio CLKID_AUDIO_GATE_EQDRC
			&clkc CLKID_FCLK_DIV5
			&clkaudio CLKID_AUDIO_EQDRC>;
		clock-names = "gate", "srcpll", "eqdrc";

		/*
		 * 0:tdmout_a
		 * 1:tdmout_b
		 * 2:tdmout_c
		 * 3:spdifout
		 * 4:spdifout_b
		 */
		eqdrc_module = <1>;
		/* max 0xf, each bit for one lane, usually one lane */
		lane_mask = <0x1>;
		/* max 0xff, each bit for one channel */
		channel_mask = <0xff>;

		status = "okay";
	};

	asrca: resample@0 {
		compatible = "amlogic, t5-resample-a";
		clocks = <&clkc CLKID_MPLL1
			&clkaudio CLKID_AUDIO_MCLK_B
			&clkaudio CLKID_AUDIO_RESAMPLE_A>;
		clock-names = "resample_pll", "resample_src", "resample_clk";

		/*same with toddr_src
		 *	TDMIN_A,    0
		 *	TDMIN_B,    1
		 *	TDMIN_C,    2
		 *	SPDIFIN,    3
		 *	PDMIN,      4
		 *	FRATV,      5
		 *	TDMIN_LB,   6
		 *	LOOPBACK_A, 7
		 *	FRHDMIRX,   8
		 *	LOOPBACK_B, 9
		 *	SPDIFIN_LB, 10
		 *	EARC_RX,    11
		 */
		resample_module = <8>;

		status = "okay";
	};

	asrcb: resample@1 {
		compatible = "amlogic, t5-resample-b";
		clocks = <&clkc CLKID_MPLL3
			&clkaudio CLKID_AUDIO_MCLK_F
			&clkaudio CLKID_AUDIO_RESAMPLE_B>;
		clock-names = "resample_pll", "resample_src", "resample_clk";

		/*this resample is only used for loopback_A.*/

		status = "disabled";
	};

	vad:vad {
		compatible = "amlogic, snd-vad";
		#sound-dai-cells = <0>;

		clocks = <&clkaudio CLKID_AUDIO_GATE_TOVAD
			&clkc CLKID_FCLK_DIV5
			&clkaudio CLKID_AUDIO_VAD>;
		clock-names = "gate", "pll", "clk";

		interrupts = <GIC_SPI 155 IRQ_TYPE_EDGE_RISING
				GIC_SPI 47 IRQ_TYPE_EDGE_RISING>;
		interrupt-names = "irq_wakeup", "irq_frame_sync";

		/*
		 * Data src sel:
		 * 0: tdmin_a;
		 * 1: tdmin_b;
		 * 2: tdmin_c;
		 * 3: spdifin;
		 * 4: pdmin;
		 * 5: loopback_b;
		 * 6: tdmin_lb;
		 * 7: loopback_a;
		 */
		src = <4>;

		/*
		 * deal with hot word in user space or kernel space
		 * 0: in user space
		 * 1: in kernel space
		 */
		level = <1>;

		mic-src = <&pdm>;
		wakeup_sample_rate = <16000>;

		status = "okay";
	};

	loopbacka:loopback@0 {
		compatible = "amlogic, t5-loopbacka";
		#sound-dai-cells = <0>;

		clocks = <&clkaudio CLKID_AUDIO_GATE_PDM
			&clkc CLKID_FCLK_DIV3
			&clkc CLKID_MPLL3
			&clkaudio CLKID_AUDIO_PDMIN0
			&clkaudio CLKID_AUDIO_PDMIN1
			&clkc CLKID_MPLL0
			&clkaudio CLKID_AUDIO_MCLK_A>;
		clock-names = "pdm_gate",
			"pdm_sysclk_srcpll",
			"pdm_dclk_srcpll",
			"pdm_dclk",
			"pdm_sysclk",
			"tdminlb_mpll",
			"tdminlb_mclk";

		/* datain src
		 * 0: tdmin_a;
		 * 1: tdmin_b;
		 * 2: tdmin_c;
		 * 3: spdifin;
		 * 4: pdmin;
		 */
		datain_src = <4>;
		datain_chnum = <4>;
		datain_chmask = <0xf>;
		/* config which data pin for loopback */
		datain-lane-mask-in = <1 1 0 0>;

		/* calc mclk for datalb */
		mclk-fs = <256>;

		/* tdmin_lb src
		 * 0: tdmoutA
		 * 1: tdmoutB
		 * 2: tdmoutC
		 * 3: PAD_TDMINA_DIN*, refer to core pinmux
		 * 4: PAD_TDMINB_DIN*, refer to core pinmux
		 * 5: PAD_TDMINC_DIN*, refer to core pinmux
		 * 6: PAD_TDMINA_D*, oe, refer to core pinmux
		 * 7: PAD_TDMINB_D*, oe, refer to core pinmux
		 */
		/* if tdmin_lb >= 3, use external loopback */
		datalb_src = <1>;
		datalb_chnum = <2>;
		datalb_chmask = <0x3>;
		/* config which data pin as loopback */
		datalb-lane-mask-in = <1 0 0 0>;

		/* define loopack with pdm mic. */
		mic-src = <&pdm>;

		status = "okay";
	};

	loopbackb:loopback@1 {
		compatible = "amlogic, t5-loopbackb";
		#sound-dai-cells = <0>;

		clocks = <&clkaudio CLKID_AUDIO_GATE_PDM
			&clkc CLKID_FCLK_DIV3
			&clkc CLKID_MPLL3
			&clkaudio CLKID_AUDIO_PDMIN0
			&clkaudio CLKID_AUDIO_PDMIN1
			&clkc CLKID_MPLL0
			&clkaudio CLKID_AUDIO_MCLK_A>;
		clock-names = "pdm_gate",
			"pdm_sysclk_srcpll",
			"pdm_dclk_srcpll",
			"pdm_dclk",
			"pdm_sysclk",
			"tdminlb_mpll",
			"tdminlb_mclk";

		/* calc mclk for datain_lb */
		mclk-fs = <256>;

		/* datain src
		 * 0: tdmin_a;
		 * 1: tdmin_b;
		 * 2: tdmin_c;
		 * 3: spdifin;
		 * 4: pdmin;
		 */
		datain_src = <4>;
		datain_chnum = <4>;
		datain_chmask = <0xf>;
		/* config which data pin for loopback */
		datain-lane-mask-in = <1 0 1 0>;

		/* tdmin_lb src
		 * 0: tdmoutA
		 * 1: tdmoutB
		 * 2: tdmoutC
		 * 3: PAD_TDMINA_DIN*, refer to core pinmux
		 * 4: PAD_TDMINB_DIN*, refer to core pinmux
		 * 5: PAD_TDMINC_DIN*, refer to core pinmux
		 * 6: PAD_TDMINA_D*, oe, refer to core pinmux
		 * 7: PAD_TDMINB_D*, oe, refer to core pinmux
		 */
		/* if tdmin_lb >= 3, use external loopback */
		datalb_src = <1>;
		datalb_chnum = <2>;
		datalb_chmask = <0x3>;
		/* config which data pin as loopback */
		datalb-lane-mask-in = <1 0 0 0>;

		status = "disabled";
	};
}; /* end of audiobus */

&pinctrl_periphs {
	/* audio pin mux */
	tdmout_b_pins: tdmout_b_pin {
		mux { /* GPIOH_15, GPIOH_16, GPIOH_17 */
			groups = "tdm_fs1",
				"tdm_sclk1",
				"tdm_d0";
			function = "tdm";
			bias-pull-down;
		};
	};

	tdmout_a_gpio: tdmout_a_gpio {
		mux { /* GPIOH_14, GPIOH_15, GPIOH_16, GPIOH_17 */
			groups ="GPIOH_14",
				"GPIOH_15",
				"GPIOH_16",
				"GPIOH_17";
			function = "gpio_periphs";
			output-low;
		};
	};

	pdmin: pdmin {
		mux { /* GPIOH_19, GPIOH_18 */
			groups = "pdm_dclk_h",
				"pdm_din0_h18";
			function = "pdm";
		};
	};

	/* backlight */
	bl_pwm_vs_on_pins:bl_pwm_vs_on_pin {
		mux {
			groups = "pwm_vs_h12";
			function = "pwm_vs";
		};
	};
	bl_pwm_off_pins:bl_pwm_off_pin {
		mux {
			groups = "GPIOH_12";
			function = "gpio_periphs";
			output-low;
		};
	};
	bl_pwm_combo_0_vs_on_pins:bl_pwm_combo_0_vs_on_pin {
		mux {
			groups = "pwm_vs_h12";
			function = "pwm_vs";
		};
	};
	bl_pwm_combo_1_vs_on_pins:bl_pwm_combo_1_vs_on_pin {
		mux {
			groups = "pwm_vs_h13";
			function = "pwm_vs";
		};
	};
	bl_pwm_combo_off_pins:bl_pwm_combo_off_pin {
		mux {
			groups = "GPIOH_12",
				"GPIOH_13";
			function = "gpio_periphs";
			output-low;
		};
	};

}; /* end of pinctrl_periphs */

&sd_emmc_c {
	status = "okay";
	pinctrl-names = "default", "clk-gate";
	pinctrl-0 = <&emmc_clk_cmd_pins>;
	pinctrl-1 = <&emmc_conf_pull_up &emmc_conf_pull_done>;
	pinctrl-2 = <&emmc_pins_sleep>;

	bus-width = <8>;
	cap-mmc-highspeed;
	//mmc-ddr-1_8v;
	mmc-hs200-1_8v;
	mmc-hs400-1_8v;
	max-frequency = <200000000>;
	non-removable;
	disable-wp;

//	mmc-pwrseq = <&emmc_pwrseq>;
//	vmmc-supply = <&vddao_3v3>;
//	vqmmc-supply = <&vddao_1v8>;
};

&spifc {
	status = "disabled";
	spi-nor@0 {
		status = "disabled";
	};
};

&mtd_nand {
	status = "disabled";
	#address-cells = <1>;
	#size-cells = <0>;

	bl_mode = <1>;
	fip_copies = <4>;
	fip_size = <0x200000>;
	ship_bad_block = <1>;
	disa_irq_flag = <1>;

	nand@bootloader {
		reg = <0>;
		#address-cells = <1>;
		#size-cells = <1>;
		nand-ecc-maximize;
		partition@0 {
			label = "bootloader";
			reg = <0x0 0x00000000>;
		};
	};
	nand@normal {
		reg = <0>;
		#address-cells = <1>;
		#size-cells = <1>;
		nand-ecc-maximize;

		partition@0 {
			label = "tpl";
			reg = <0x0 0x00000000>;
		};
		partition@1 {
			label = "logo";
			reg = <0x0 0x00200000>;
		};
		partition@2 {
			label = "recovery";
			reg = <0x0 0x1000000>;
		};
		partition@3 {
			label = "boot";
			reg = <0x0 0x0F00000>;
		};
		partition@4 {
			label = "system";
			reg = <0x0 0x11800000>;
		};
		partition@5 {
			label = "data";
			reg = <0x0 0xffffffff>;
		};
	};
};

&ethmac {
	status = "okay";
	phy-handle = <&internal_ephy>;
	phy-mode = "rmii";
};

&uart_A {
	status = "disabled";
};

&crg {
	status = "okay";
};

&usb2_phy_v2 {
	status = "okay";
	portnum = <3>;
};

&usb3_phy_v2 {
	status = "okay";
	portnum = <0>;
	portconfig-30 = <0>;
	portconfig-31 = <0>;
	otg = <0>;
};

&dwc2_a {
	status = "okay";
	/** 0: normal, 1: otg+dwc3 host only, 2: otg+dwc3 device only*/
	controller-type = <1>;
};

&spicc0 {
	status = "disabled";
	pinctrl-names = "default";
	pinctrl-0 = <&spicc0_pins_h>;
	cs-gpios = <&gpio GPIOH_8 0>;
	spi-nor@0 {
		compatible = "jedec,spi-nor";
		status = "disabled";
		reg = <0>;
		spi-max-frequency = <16000000>;
	};
};

&meson_fb {
	status = "disabled";
	display_size_default = <1280 720 1280 2160 32>;
	mem_size = <0x00800000 0xb00000 0x100000 0x100000 0x400000>;
	logo_addr = "0x3f800000";
	mem_alloc = <0>;
	pxp_mode = <0>; /** 0:normal mode 1:pxp mode */
};

&drm_vpu {
	status = "okay";
	logo_addr = "0x3f800000";
};

&drm_amhdmitx {
	status = "disabled";
	hdcp = "disabled";
};

&drm_amcvbsout {
	status = "disabled";
};

&drm_lcd {
	status = "okay";
};

&saradc {
	status = "okay";
};

&pwm_ab {
	status = "okay";
};

&pwm_ef {
	status = "okay";
};

&vddcpu0 {
	status = "okay";
};

&efuse {
	status = "disabled";
};

&lut_dma {
	status = "disabled";
};

&p_tsensor {
	status = "okay";
};

&meson_cooldev {
	status = "okay";
};

&i2c1 {
	status = "okay";
	pinctrl-names="default";
	pinctrl-0=<&i2c1_pins>;

	lcd_extern_i2c0: lcd_extern_i2c@36 {
		compatible = "lcd_ext, i2c";
		dev_name = "i2c_RT6965";
		reg = <0x36>;
		status = "disabled";
	};

	tas5805: tas5805@2e {
		compatible = "ti, tas5805";
		#sound-dai-cells = <0>;
		codec_name = "tas5805";
		reg = <0x2e>;
		reset_pin = <&gpio_ao GPIOD_9 GPIO_ACTIVE_HIGH>;
		status = "okay";
	};
};

&aml_bt {
	status = "okay";
	power_down_disable = <1>;
	reset-gpios = <&gpio_ao       GPIOD_3       GPIO_ACTIVE_HIGH>;
};

&aml_wifi{
	status = "okay";
	power_on-gpios  = <&gpio_ao       GPIOD_2       GPIO_ACTIVE_HIGH>;
};

&cma_shrinker {
	free = <7680 24288 28528 32600 32768 36624>;
};
